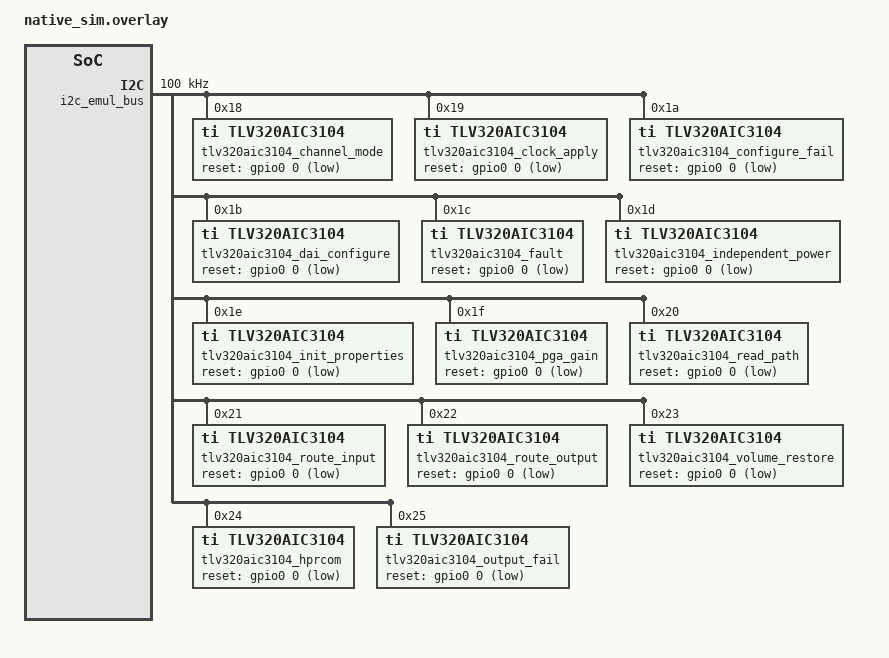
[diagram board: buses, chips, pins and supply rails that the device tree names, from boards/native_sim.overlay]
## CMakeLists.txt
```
# SPDX-FileCopyrightText: Copyright The Zephyr Project Contributors
# SPDX-License-Identifier: Apache-2.0

cmake_minimum_required(VERSION 3.20.0)
find_package(Zephyr REQUIRED HINTS $ENV{ZEPHYR_BASE})
project(tlv320aic3104_test)

target_sources(app PRIVATE
    src/tlv320aic3104_emul.c
    src/test_clock_solver.c
    src/test_clock_apply.c
    src/test_dai_configure.c
    src/test_channel_mode.c
    src/test_route_output.c
    src/test_route_input.c
    src/test_fault.c
    src/test_hprcom.c
    src/test_independent_power.c
    src/test_init_properties.c
    src/test_output_fail.c
    src/test_pga_gain.c
    src/test_read_path.c
    src/test_volume_restore.c
    src/test_configure_fail.c
)

target_include_directories(app PRIVATE src ${ZEPHYR_BASE}/drivers/audio)
```

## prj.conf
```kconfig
# SPDX-FileCopyrightText: Copyright The Zephyr Project Contributors
# SPDX-License-Identifier: Apache-2.0

CONFIG_ZTEST=y

CONFIG_I2C=y
CONFIG_EMUL=y
CONFIG_I2C_EMUL=y
CONFIG_GPIO=y
CONFIG_GPIO_EMUL=y

CONFIG_AUDIO=y
CONFIG_AUDIO_CODEC=y
CONFIG_AUDIO_TLV320AIC3104=y

CONFIG_LOG=y
```

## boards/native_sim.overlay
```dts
/*
 * SPDX-FileCopyrightText: Copyright The Zephyr Project Contributors
 * SPDX-License-Identifier: Apache-2.0
 */

/ {
	i2c_emul_bus: i2c_emul@60000000 {
		compatible = "zephyr,i2c-emul-controller";
		reg = <0x60000000 0x1>;
		clock-frequency = <I2C_BITRATE_STANDARD>;
		#address-cells = <1>;
		#size-cells = <0>;
		status = "okay";

		tlv320aic3104_channel_mode: tlv320aic3104@18 {
			compatible = "ti,tlv320aic3104";
			reg = <0x18>;
			reset-gpios = <&gpio0 0 GPIO_ACTIVE_LOW>;
			status = "okay";
		};

		tlv320aic3104_clock_apply: tlv320aic3104@19 {
			compatible = "ti,tlv320aic3104";
			reg = <0x19>;
			reset-gpios = <&gpio0 0 GPIO_ACTIVE_LOW>;
			status = "okay";
		};

		tlv320aic3104_configure_fail: tlv320aic3104@1a {
			compatible = "ti,tlv320aic3104";
			reg = <0x1a>;
			reset-gpios = <&gpio0 0 GPIO_ACTIVE_LOW>;
			status = "okay";
		};

		tlv320aic3104_dai_configure: tlv320aic3104@1b {
			compatible = "ti,tlv320aic3104";
			reg = <0x1b>;
			reset-gpios = <&gpio0 0 GPIO_ACTIVE_LOW>;
			status = "okay";
		};

		tlv320aic3104_fault: tlv320aic3104@1c {
			compatible = "ti,tlv320aic3104";
			reg = <0x1c>;
			reset-gpios = <&gpio0 0 GPIO_ACTIVE_LOW>;
			status = "okay";
		};

		tlv320aic3104_independent_power: tlv320aic3104@1d {
			compatible = "ti,tlv320aic3104";
			reg = <0x1d>;
			reset-gpios = <&gpio0 0 GPIO_ACTIVE_LOW>;
			status = "okay";
		};

		tlv320aic3104_init_properties: tlv320aic3104@1e {
			compatible = "ti,tlv320aic3104";
			reg = <0x1e>;
			reset-gpios = <&gpio0 0 GPIO_ACTIVE_LOW>;

			mic-bias-level = <2>;
			adc-high-pass-filter = <3>;
			status = "okay";
		};

		tlv320aic3104_pga_gain: tlv320aic3104@1f {
			compatible = "ti,tlv320aic3104";
			reg = <0x1f>;
			reset-gpios = <&gpio0 0 GPIO_ACTIVE_LOW>;
			status = "okay";
		};

		tlv320aic3104_read_path: tlv320aic3104@20 {
			compatible = "ti,tlv320aic3104";
			reg = <0x20>;
			reset-gpios = <&gpio0 0 GPIO_ACTIVE_LOW>;
			status = "okay";
		};

		tlv320aic3104_route_input: tlv320aic3104@21 {
			compatible = "ti,tlv320aic3104";
			reg = <0x21>;
			reset-gpios = <&gpio0 0 GPIO_ACTIVE_LOW>;
			status = "okay";
		};

		tlv320aic3104_route_output: tlv320aic3104@22 {
			compatible = "ti,tlv320aic3104";
			reg = <0x22>;
			reset-gpios = <&gpio0 0 GPIO_ACTIVE_LOW>;
			status = "okay";
		};

		tlv320aic3104_volume_restore: tlv320aic3104@23 {
			compatible = "ti,tlv320aic3104";
			reg = <0x23>;
			reset-gpios = <&gpio0 0 GPIO_ACTIVE_LOW>;
			status = "okay";
		};

		tlv320aic3104_hprcom: tlv320aic3104@24 {
			compatible = "ti,tlv320aic3104";
			reg = <0x24>;
			reset-gpios = <&gpio0 0 GPIO_ACTIVE_LOW>;

			hprcom-vcm-output;
			status = "okay";
		};

		tlv320aic3104_output_fail: tlv320aic3104@25 {
			compatible = "ti,tlv320aic3104";
			reg = <0x25>;
			reset-gpios = <&gpio0 0 GPIO_ACTIVE_LOW>;
			status = "okay";
		};
	};
};
```

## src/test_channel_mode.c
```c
/*
 * SPDX-FileCopyrightText: Copyright The Zephyr Project Contributors
 * SPDX-License-Identifier: Apache-2.0
 */

#include <zephyr/ztest.h>
#include <zephyr/device.h>
#include <zephyr/audio/codec.h>
#include <zephyr/drivers/i2c.h>
#include <zephyr/drivers/i2c_emul.h>

#include "tlv320aic3104_priv.h"

#include "tlv320aic3104_emul.h"

#define CODEC DEVICE_DT_GET(DT_NODELABEL(tlv320aic3104_channel_mode))

ZTEST(tlv320_channel_mode, test_stereo_sets_datapath_0x0a)
{
	zassert_true(device_is_ready(CODEC));
	tlv320aic3104_emul_reset();
	zassert_ok(audio_codec_route_output(CODEC, AUDIO_CHANNEL_ALL, TLV320AIC3104_OUTPUT_HP));
	zassert_equal(tlv320aic3104_emul_last_val(0, 0x07), 0x0A, "stereo datapath");
	zassert_equal(tlv320aic3104_emul_last_val(0, 0x11), 0x0F, "stereo R17");
	zassert_equal(tlv320aic3104_emul_last_val(0, 0x12), 0xF0, "stereo R18");
}

ZTEST(tlv320_channel_mode, test_mono_sets_datapath_0x1e)
{
	tlv320aic3104_emul_reset();
	zassert_ok(audio_codec_route_output(CODEC, AUDIO_CHANNEL_FRONT_CENTER,
					    TLV320AIC3104_OUTPUT_HP));
	zassert_equal(tlv320aic3104_emul_last_val(0, 0x07), 0x1E, "mono datapath");
	zassert_equal(tlv320aic3104_emul_last_val(0, 0x11), 0x44, "mono R17");
	zassert_equal(tlv320aic3104_emul_last_val(0, 0x12), 0x44, "mono R18");
}

ZTEST(tlv320_channel_mode, test_capture_start_powers_adc_and_routes_line2)
{
	tlv320aic3104_emul_reset();

	tlv320aic3104_emul_set_val(0, 0x13, 0x78);
	tlv320aic3104_emul_set_val(0, 0x16, 0x78);
	zassert_ok(audio_codec_route_output(CODEC, AUDIO_CHANNEL_ALL, TLV320AIC3104_OUTPUT_HP));
	zassert_ok(audio_codec_start(CODEC, AUDIO_DAI_DIR_RX));
	zassert_equal(tlv320aic3104_emul_last_val(0, 0x13), 0x7C, "Left-ADC powered (R19)");
	zassert_equal(tlv320aic3104_emul_last_val(0, 0x16), 0x7C, "Right-ADC powered (R22)");
	zassert_equal(tlv320aic3104_emul_last_val(0, 0x0F), 0x00, "Left PGA 0dB unmuted (R15)");
	zassert_equal(tlv320aic3104_emul_last_val(0, 0x10), 0x00, "Right PGA 0dB unmuted (R16)");
	zassert_equal(tlv320aic3104_emul_last_val(0, 0x11), 0x0F, "LINE2L->LADC (R17)");
	zassert_equal(tlv320aic3104_emul_last_val(0, 0x12), 0xF0, "LINE2R->RADC (R18)");

	zassert_equal(tlv320aic3104_emul_last_val(0, 0x19), 0x00, "MICBIAS off by default (R25)");
	zassert_equal(tlv320aic3104_emul_last_val(0, 0x0C), 0x00,
		      "ADC HPF disabled by default (R12)");
}

ZTEST(tlv320_channel_mode, test_channel_mode_preserves_clock_family_bit)
{

	tlv320aic3104_emul_reset();
	tlv320aic3104_emul_set_val(0, 0x07, 0x80);

	zassert_ok(audio_codec_route_output(CODEC, AUDIO_CHANNEL_FRONT_CENTER,
					    TLV320AIC3104_OUTPUT_HP));
	zassert_equal(tlv320aic3104_emul_last_val(0, 0x07), 0x9E, "family bit survives mono write");

	zassert_ok(audio_codec_route_output(CODEC, AUDIO_CHANNEL_ALL, TLV320AIC3104_OUTPUT_HP));
	zassert_equal(tlv320aic3104_emul_last_val(0, 0x07), 0x8A,
		      "family bit survives stereo write");
}

ZTEST(tlv320_channel_mode, test_capture_stop_powers_down_adc)
{
	tlv320aic3104_emul_reset();

	tlv320aic3104_emul_set_val(0, 0x13, 0x78);
	tlv320aic3104_emul_set_val(0, 0x16, 0x78);
	zassert_ok(audio_codec_start(CODEC, AUDIO_DAI_DIR_RX));
	zassert_ok(audio_codec_stop(CODEC, AUDIO_DAI_DIR_RX));
	zassert_equal(tlv320aic3104_emul_last_val(0, 0x13), 0x78, "Left-ADC off (R19)");
	zassert_equal(tlv320aic3104_emul_last_val(0, 0x16), 0x78, "Right-ADC off (R22)");
	zassert_equal(tlv320aic3104_emul_last_val(0, 0x0F), 0x80, "Left PGA muted (R15)");
}

ZTEST_SUITE(tlv320_channel_mode, NULL, NULL, NULL, NULL, NULL);
```

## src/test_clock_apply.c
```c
/*
 * SPDX-FileCopyrightText: Copyright The Zephyr Project Contributors
 * SPDX-License-Identifier: Apache-2.0
 */

#include <errno.h>
#include <zephyr/audio/codec.h>
#include <zephyr/device.h>
#include <zephyr/ztest.h>

#include "tlv320aic3104_emul.h"

#define CODEC DEVICE_DT_GET(DT_NODELABEL(tlv320aic3104_clock_apply))

#define R_NDAC_NADC 0x02U
#define R_PLL_A     0x03U
#define R_PLL_B     0x04U
#define R_PLL_C     0x05U
#define R_PLL_D     0x06U
#define R_DATAPATH  0x07U
#define R_OVERFLOW  0x0BU
#define R_CLOCK     0x65U

static void before_each(void *fixture)
{
	ARG_UNUSED(fixture);
	tlv320aic3104_emul_reset();
}

ZTEST_SUITE(tlv320_clock_apply, NULL, NULL, before_each, NULL, NULL);

ZTEST(tlv320_clock_apply, test_divider_only_register_set)
{
	struct audio_codec_cfg cfg = {
		.mclk_freq = 12288000,
		.dai_type = AUDIO_DAI_TYPE_I2S,
		.dai_cfg.i2s.frame_clk_freq = 48000,
		.dai_cfg.i2s.word_size = 16,
	};

	zassert_ok(audio_codec_configure(CODEC, &cfg));

	zassert_equal(tlv320aic3104_emul_last_val(0, R_NDAC_NADC), 0x00, "R2 NCODEC=1");
	zassert_equal(tlv320aic3104_emul_last_val(0, R_PLL_A), 0x10, "R3 PLL off, Q=2");
	zassert_equal(tlv320aic3104_emul_last_val(0, R_PLL_B), 0x00, "R4 unused, PLL off");
	zassert_equal(tlv320aic3104_emul_last_val(0, R_PLL_C), 0x00, "R5 unused, PLL off");
	zassert_equal(tlv320aic3104_emul_last_val(0, R_PLL_D), 0x00, "R6 unused, PLL off");
	zassert_equal(tlv320aic3104_emul_last_val(0, R_OVERFLOW), 0x00,
		      "R11 PLL R unused, PLL off");
	zassert_equal(tlv320aic3104_emul_last_val(0, R_DATAPATH), 0x0A,
		      "R7 stereo datapath, 48 kHz family bit clear");

	zassert_equal(tlv320aic3104_emul_last_val(0, R_CLOCK), 0x01,
		      "R101 CODEC_CLKIN = CLKDIV_OUT when the PLL is off");
}

ZTEST(tlv320_clock_apply, test_pll_required_register_set)
{
	struct audio_codec_cfg cfg = {
		.mclk_freq = 12000000,
		.dai_type = AUDIO_DAI_TYPE_I2S,
		.dai_cfg.i2s.frame_clk_freq = 44100,
		.dai_cfg.i2s.word_size = 16,
	};

	zassert_ok(audio_codec_configure(CODEC, &cfg));

	zassert_equal(tlv320aic3104_emul_last_val(0, R_NDAC_NADC), 0x00, "R2 NCODEC=1");
	zassert_equal(tlv320aic3104_emul_last_val(0, R_PLL_A), 0x81, "R3 PLL on, P=1");
	zassert_equal(tlv320aic3104_emul_last_val(0, R_PLL_B), 0x1C, "R4 J=7");
	zassert_equal(tlv320aic3104_emul_last_val(0, R_PLL_C), 0x52, "R5 D MSBs");
	zassert_equal(tlv320aic3104_emul_last_val(0, R_PLL_D), 0x40, "R6 D LSBs");
	zassert_equal(tlv320aic3104_emul_last_val(0, R_OVERFLOW), 0x01, "R11 PLL R=1");
	zassert_equal(tlv320aic3104_emul_last_val(0, R_DATAPATH), 0x8A,
		      "R7 stereo datapath, 44.1 kHz family bit set");

	zassert_equal(tlv320aic3104_emul_last_val(0, R_CLOCK), 0x00,
		      "R101 CODEC_CLKIN = PLLDIV_OUT when the PLL is on");
}

ZTEST(tlv320_clock_apply, test_unreachable_rate_writes_no_clock_register)
{
	struct audio_codec_cfg cfg = {
		.mclk_freq = 12000000,
		.dai_type = AUDIO_DAI_TYPE_I2S,
		.dai_cfg.i2s.frame_clk_freq = 44101,
		.dai_cfg.i2s.word_size = 16,
	};

	zassert_equal(audio_codec_configure(CODEC, &cfg), -ENOTSUP);

	zassert_equal(tlv320aic3104_emul_last_val(0, R_NDAC_NADC), 0x00, "R2 untouched");
	zassert_equal(tlv320aic3104_emul_last_val(0, R_PLL_A), 0x00, "R3 untouched");
	zassert_equal(tlv320aic3104_emul_last_val(0, R_PLL_B), 0x00, "R4 untouched");
	zassert_equal(tlv320aic3104_emul_last_val(0, R_PLL_C), 0x00, "R5 untouched");
	zassert_equal(tlv320aic3104_emul_last_val(0, R_PLL_D), 0x00, "R6 untouched");
	zassert_equal(tlv320aic3104_emul_last_val(0, R_OVERFLOW), 0x00, "R11 untouched");
	zassert_equal(tlv320aic3104_emul_last_val(0, R_DATAPATH), 0x00,
		      "R7 untouched - configure() aborted before any write");
	zassert_equal(tlv320aic3104_emul_last_val(0, R_CLOCK), 0x00, "R101 untouched");
}
```

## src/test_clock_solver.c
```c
/*
 * SPDX-FileCopyrightText: Copyright The Zephyr Project Contributors
 * SPDX-License-Identifier: Apache-2.0
 */

#include <errno.h>
#include <stdint.h>

#include <zephyr/ztest.h>

#include "tlv320aic3104_priv.h"

static bool decoded_rate_matches(const struct tlv320aic3104_clock_solution *sol, uint32_t mclk_hz,
				 uint32_t expected_rate_hz)
{
	uint8_t ncodec_code = sol->r2_ndac_nadc & 0x0F;

	zassert_equal(ncodec_code, (sol->r2_ndac_nadc >> 4) & 0x0F, "NDAC != NADC");

	int64_t fsref_x2;

	if (sol->pll_enabled) {
		uint8_t p_code = sol->r3_pll_enable_q_p & 0x07;
		uint8_t r_code = sol->r11_pll_r & 0x0F;
		uint32_t p = (p_code == 0) ? 8 : p_code;
		uint32_t r = (r_code == 0) ? 16 : r_code;
		uint32_t j = (sol->r4_pll_j >> 2) & 0x3F;
		uint32_t d =
			(((uint32_t)sol->r5_pll_d_msb) << 6) | ((sol->r6_pll_d_lsb >> 2) & 0x3F);
		int64_t k10000 = (int64_t)j * 10000 + d;

		int64_t num = (int64_t)mclk_hz * k10000 * r;
		int64_t den = 1024LL * p * 10000LL;

		zassert_equal(num % den, 0, "PLL solution does not reproduce an exact fS(ref)");
		fsref_x2 = num / den;
	} else {
		uint8_t q_code = (sol->r3_pll_enable_q_p >> 3) & 0x0F;
		uint32_t q = (q_code == 0) ? 16 : (q_code == 1) ? 17 : q_code;

		zassert_equal(sol->r3_pll_enable_q_p & 0x80, 0,
			      "divider solution left PLL enabled");

		zassert_equal(mclk_hz % (64u * q), 0, "divider solution does not divide exactly");
		fsref_x2 = mclk_hz / (64u * q);
	}

	int64_t ncodec_x2 = ncodec_code + 2;

	return (fsref_x2 % ncodec_x2 == 0) && (fsref_x2 / ncodec_x2 == expected_rate_hz);
}

ZTEST(tlv320aic3104_clock_solver, test_divider_exact_multiple_disables_pll)
{
	struct tlv320aic3104_clock_solution sol;

	zassert_equal(0, tlv320aic3104_clock_solve(12288000, 48000, &sol));
	zassert_false(sol.pll_enabled, "exact division must not engage the PLL");
	zassert_equal(sol.r3_pll_enable_q_p & 0x80, 0, "R3 D7 must be 0 when PLL is off");
	zassert_true(decoded_rate_matches(&sol, 12288000, 48000));
}

ZTEST(tlv320aic3104_clock_solver, test_pll_required_for_standard_rate)
{
	struct tlv320aic3104_clock_solution sol;

	zassert_equal(0, tlv320aic3104_clock_solve(12000000, 44100, &sol));
	zassert_true(sol.pll_enabled, "12 MHz to 44.1 kHz needs the PLL");
	zassert_equal(sol.r3_pll_enable_q_p & 0x80, 0x80, "R3 D7 must be 1 when PLL is on");
	zassert_true(decoded_rate_matches(&sol, 12000000, 44100));
}

ZTEST(tlv320aic3104_clock_solver, test_mclk_below_pll_input_minimum_rejected)
{
	struct tlv320aic3104_clock_solution sol;

	zassert_equal(-ENOTSUP, tlv320aic3104_clock_solve(400000, 8000, &sol));
}

ZTEST(tlv320aic3104_clock_solver, test_mclk_above_input_maximum_rejected)
{
	struct tlv320aic3104_clock_solution sol;

	zassert_equal(-ENOTSUP, tlv320aic3104_clock_solve(60000000, 48000, &sol));
}

ZTEST(tlv320aic3104_clock_solver, test_unreachable_rate_rejected)
{
	struct tlv320aic3104_clock_solution sol;

	zassert_equal(-ENOTSUP, tlv320aic3104_clock_solve(12000000, 44101, &sol));
}

ZTEST(tlv320aic3104_clock_solver, test_every_standard_rate_at_common_mclk)
{

	static const uint32_t rates[] = {8000,  11025, 12000, 16000, 22050,
					 24000, 32000, 44100, 48000};

	for (size_t i = 0; i < ARRAY_SIZE(rates); i++) {
		struct tlv320aic3104_clock_solution sol;
		int ret = tlv320aic3104_clock_solve(12000000, rates[i], &sol);

		zassert_equal(0, ret, "rate %u should be reachable at 12 MHz", rates[i]);
		zassert_true(decoded_rate_matches(&sol, 12000000, rates[i]),
			     "rate %u decoded incorrectly", rates[i]);
	}
}

ZTEST(tlv320aic3104_clock_solver, test_zero_rate_rejected_before_arithmetic)
{
	struct tlv320aic3104_clock_solution sol;

	zassert_equal(-EINVAL, tlv320aic3104_clock_solve(12000000, 0, &sol));
}

ZTEST(tlv320aic3104_clock_solver, test_zero_mclk_rejected_before_arithmetic)
{
	struct tlv320aic3104_clock_solution sol;

	zassert_equal(-EINVAL, tlv320aic3104_clock_solve(0, 48000, &sol));
}

ZTEST(tlv320aic3104_clock_solver, test_fractional_ncodec_divider_honours_fsref_floor)
{
	struct tlv320aic3104_clock_solution sol;
	uint8_t ncodec_code;
	int64_t ncodec_x2;
	uint8_t q_code;
	uint32_t q;
	int64_t fsref_x2;

	zassert_equal(0, tlv320aic3104_clock_solve(36864000, 16000, &sol));
	zassert_true(decoded_rate_matches(&sol, 36864000, 16000));

	if (sol.pll_enabled) {
		return;
	}

	ncodec_code = sol.r2_ndac_nadc & 0x0F;
	ncodec_x2 = ncodec_code + 2;

	if ((ncodec_x2 % 2) == 0) {
		return;
	}

	q_code = (sol.r3_pll_enable_q_p >> 3) & 0x0F;
	q = (q_code == 0) ? 16 : (q_code == 1) ? 17 : q_code;
	fsref_x2 = 36864000 / (64u * q);

	zassert_true(fsref_x2 >= 39000 * 2,
		     "half-integer NCODEC divider solution at fS(ref) %lld Hz, below the "
		     "39 kHz floor that mode requires",
		     (long long)(fsref_x2 / 2));
}

ZTEST_SUITE(tlv320aic3104_clock_solver, NULL, NULL, NULL, NULL, NULL);
```

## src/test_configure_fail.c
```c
/*
 * SPDX-FileCopyrightText: Copyright The Zephyr Project Contributors
 * SPDX-License-Identifier: Apache-2.0
 */

#include <zephyr/ztest.h>
#include <zephyr/device.h>
#include <zephyr/audio/codec.h>
#include <errno.h>

#include "tlv320aic3104_emul.h"

#define CODEC DEVICE_DT_GET(DT_NODELABEL(tlv320aic3104_configure_fail))

#define REG_SOFT_RESET     0x01U
#define REG_CODEC_DATAPATH 0x07U
#define REG_DAC_POWER      0x25U
#define REG_HPLOUT_LEVEL   0x33U
#define VAL_HPLOUT_LEVEL   0x09U

static struct audio_codec_cfg s_cfg = {
	.mclk_freq = 12288000,
	.dai_type = AUDIO_DAI_TYPE_I2S,
	.dai_cfg.i2s.frame_clk_freq = 48000,
	.dai_cfg.i2s.word_size = 16,
};

static void *suite_setup(void)
{
	zassert_true(device_is_ready(CODEC), "codec device not ready");
	return NULL;
}

static void before_each(void *fixture)
{
	ARG_UNUSED(fixture);
	tlv320aic3104_emul_reset();
}

ZTEST_SUITE(tlv320_configure_fail, NULL, suite_setup, before_each, NULL, NULL);

ZTEST(tlv320_configure_fail, test_configure_ok_baseline)
{
	zassert_ok(audio_codec_configure(CODEC, &s_cfg), "configure must succeed without faults");
	zassert_equal(tlv320aic3104_emul_last_val(0, REG_HPLOUT_LEVEL), VAL_HPLOUT_LEVEL,
		      "init sequence did not reach HPLOUT_LEVEL");
}

ZTEST(tlv320_configure_fail, test_soft_reset_write_failure_propagates)
{
	tlv320aic3104_emul_fail_write_at(0, REG_SOFT_RESET);

	zassert_equal(audio_codec_configure(CODEC, &s_cfg), -EIO,
		      "soft-reset write failure must propagate");
	zassert_equal(tlv320aic3104_emul_last_val(0, REG_CODEC_DATAPATH), 0x00,
		      "writes after the failed reset must not run");
}

ZTEST(tlv320_configure_fail, test_channel_mode_write_failure_propagates)
{
	tlv320aic3104_emul_fail_write_at(0, REG_CODEC_DATAPATH);

	zassert_equal(audio_codec_configure(CODEC, &s_cfg), -EIO,
		      "channel-mode write failure must propagate");

	zassert_equal(tlv320aic3104_emul_last_val(0, REG_HPLOUT_LEVEL), 0x00,
		      "writes after the failed register must not run");
}

ZTEST(tlv320_configure_fail, test_init_sequence_write_failure_propagates)
{
	tlv320aic3104_emul_fail_write_at(0, REG_DAC_POWER);

	zassert_equal(audio_codec_configure(CODEC, &s_cfg), -EIO,
		      "init-sequence write failure must propagate");
	zassert_equal(tlv320aic3104_emul_last_val(0, REG_HPLOUT_LEVEL), 0x00,
		      "writes after the failed register must not run");
}

ZTEST(tlv320_configure_fail, test_configure_recovers_after_fault_cleared)
{
	tlv320aic3104_emul_fail_write_at(0, REG_DAC_POWER);
	zassert_equal(audio_codec_configure(CODEC, &s_cfg), -EIO, "armed fault must fail");

	tlv320aic3104_emul_reset();
	zassert_ok(audio_codec_configure(CODEC, &s_cfg), "configure must succeed after recovery");
	zassert_equal(tlv320aic3104_emul_last_val(0, REG_HPLOUT_LEVEL), VAL_HPLOUT_LEVEL,
		      "recovered sequence did not reach HPLOUT_LEVEL");
}
```

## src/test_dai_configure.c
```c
/*
 * SPDX-FileCopyrightText: Copyright The Zephyr Project Contributors
 * SPDX-License-Identifier: Apache-2.0
 */

#include <errno.h>
#include <zephyr/audio/codec.h>
#include <zephyr/device.h>
#include <zephyr/drivers/i2s.h>
#include <zephyr/ztest.h>

#include "tlv320aic3104_emul.h"

#define CODEC DEVICE_DT_GET(DT_NODELABEL(tlv320aic3104_dai_configure))

#define R_ASI_CTRL_A 0x08U
#define R_ASI_CTRL_B 0x09U

#define ASI_CTRL_A_HIZ_DOUT    0x20U
#define ASI_CTRL_A_BCLK_OUTPUT 0x80U
#define ASI_CTRL_A_WCLK_OUTPUT 0x40U

static struct audio_codec_cfg base_cfg(void)
{
	struct audio_codec_cfg cfg = {
		.mclk_freq = 12288000,
		.dai_type = AUDIO_DAI_TYPE_I2S,
		.dai_cfg.i2s.frame_clk_freq = 48000,
		.dai_cfg.i2s.word_size = 16,
	};

	return cfg;
}

static void before_each(void *fixture)
{
	ARG_UNUSED(fixture);
	tlv320aic3104_emul_reset();
}

ZTEST_SUITE(tlv320_dai_configure, NULL, NULL, before_each, NULL, NULL);

ZTEST(tlv320_dai_configure, test_mode_i2s)
{
	struct audio_codec_cfg cfg = base_cfg();

	cfg.dai_type = AUDIO_DAI_TYPE_I2S;
	zassert_ok(audio_codec_configure(CODEC, &cfg));
	zassert_equal(tlv320aic3104_emul_last_val(0, R_ASI_CTRL_B), 0x00, "I2S, 16-bit -> 00_00");
}

ZTEST(tlv320_dai_configure, test_mode_left_justified)
{
	struct audio_codec_cfg cfg = base_cfg();

	cfg.dai_type = AUDIO_DAI_TYPE_LEFT_JUSTIFIED;
	zassert_ok(audio_codec_configure(CODEC, &cfg));
	zassert_equal(tlv320aic3104_emul_last_val(0, R_ASI_CTRL_B), 0xC0,
		      "left justified -> 11_00");
}

ZTEST(tlv320_dai_configure, test_mode_right_justified)
{
	struct audio_codec_cfg cfg = base_cfg();

	cfg.dai_type = AUDIO_DAI_TYPE_RIGHT_JUSTIFIED;
	zassert_ok(audio_codec_configure(CODEC, &cfg));
	zassert_equal(tlv320aic3104_emul_last_val(0, R_ASI_CTRL_B), 0x80,
		      "right justified -> 10_00");
}

ZTEST(tlv320_dai_configure, test_pcm_rejected)
{
	struct audio_codec_cfg cfg = base_cfg();

	cfg.dai_type = AUDIO_DAI_TYPE_PCM;
	zassert_equal(audio_codec_configure(CODEC, &cfg), -ENOTSUP);
	zassert_equal(tlv320aic3104_emul_last_val(0, R_ASI_CTRL_A), 0x00, "R8 untouched");
	zassert_equal(tlv320aic3104_emul_last_val(0, R_ASI_CTRL_B), 0x00, "R9 untouched");
}

ZTEST(tlv320_dai_configure, test_unsupported_mode_rejected)
{
	struct audio_codec_cfg cfg = base_cfg();

	cfg.dai_type = AUDIO_DAI_TYPE_PCMA;
	zassert_equal(audio_codec_configure(CODEC, &cfg), -ENOTSUP);
	zassert_equal(tlv320aic3104_emul_last_val(0, R_ASI_CTRL_A), 0x00, "R8 untouched");
	zassert_equal(tlv320aic3104_emul_last_val(0, R_ASI_CTRL_B), 0x00, "R9 untouched");
}

ZTEST(tlv320_dai_configure, test_word_length_16)
{
	struct audio_codec_cfg cfg = base_cfg();

	cfg.dai_cfg.i2s.word_size = 16;
	zassert_ok(audio_codec_configure(CODEC, &cfg));
	zassert_equal(tlv320aic3104_emul_last_val(0, R_ASI_CTRL_B), 0x00, "16-bit -> 00_00_00");
}

ZTEST(tlv320_dai_configure, test_word_length_20)
{
	struct audio_codec_cfg cfg = base_cfg();

	cfg.dai_cfg.i2s.word_size = 20;
	zassert_ok(audio_codec_configure(CODEC, &cfg));
	zassert_equal(tlv320aic3104_emul_last_val(0, R_ASI_CTRL_B), 0x10, "20-bit -> 00_01_00");
}

ZTEST(tlv320_dai_configure, test_word_length_24)
{
	struct audio_codec_cfg cfg = base_cfg();

	cfg.dai_cfg.i2s.word_size = 24;
	zassert_ok(audio_codec_configure(CODEC, &cfg));
	zassert_equal(tlv320aic3104_emul_last_val(0, R_ASI_CTRL_B), 0x20, "24-bit -> 00_10_00");
}

ZTEST(tlv320_dai_configure, test_word_length_32)
{
	struct audio_codec_cfg cfg = base_cfg();

	cfg.dai_cfg.i2s.word_size = 32;
	zassert_ok(audio_codec_configure(CODEC, &cfg));
	zassert_equal(tlv320aic3104_emul_last_val(0, R_ASI_CTRL_B), 0x30, "32-bit -> 00_11_00");
}

ZTEST(tlv320_dai_configure, test_unsupported_word_length_rejected)
{
	struct audio_codec_cfg cfg = base_cfg();

	cfg.dai_cfg.i2s.word_size = 18;
	zassert_equal(audio_codec_configure(CODEC, &cfg), -ENOTSUP);
	zassert_equal(tlv320aic3104_emul_last_val(0, R_ASI_CTRL_A), 0x00, "R8 untouched");
	zassert_equal(tlv320aic3104_emul_last_val(0, R_ASI_CTRL_B), 0x00, "R9 untouched");
}

ZTEST(tlv320_dai_configure, test_clock_direction_codec_target)
{
	struct audio_codec_cfg cfg = base_cfg();

	cfg.dai_cfg.i2s.options = I2S_OPT_BIT_CLK_TARGET | I2S_OPT_FRAME_CLK_TARGET;
	zassert_ok(audio_codec_configure(CODEC, &cfg));
	zassert_equal(tlv320aic3104_emul_last_val(0, R_ASI_CTRL_A), ASI_CTRL_A_HIZ_DOUT,
		      "target options: codec takes BCLK+WCLK, D7=0, D6=0");
}

ZTEST(tlv320_dai_configure, test_clock_direction_codec_controller)
{
	struct audio_codec_cfg cfg = base_cfg();

	cfg.dai_cfg.i2s.options = I2S_OPT_BIT_CLK_CONTROLLER | I2S_OPT_FRAME_CLK_CONTROLLER;
	zassert_ok(audio_codec_configure(CODEC, &cfg));
	zassert_equal(tlv320aic3104_emul_last_val(0, R_ASI_CTRL_A),
		      ASI_CTRL_A_HIZ_DOUT | ASI_CTRL_A_BCLK_OUTPUT | ASI_CTRL_A_WCLK_OUTPUT,
		      "controller options: codec drives BCLK+WCLK, D7=1, D6=1");
}

ZTEST(tlv320_dai_configure, test_clock_direction_codec_drives_bclk_only)
{
	struct audio_codec_cfg cfg = base_cfg();

	cfg.dai_cfg.i2s.options = I2S_OPT_BIT_CLK_CONTROLLER | I2S_OPT_FRAME_CLK_TARGET;
	zassert_ok(audio_codec_configure(CODEC, &cfg));
	zassert_equal(tlv320aic3104_emul_last_val(0, R_ASI_CTRL_A),
		      ASI_CTRL_A_HIZ_DOUT | ASI_CTRL_A_BCLK_OUTPUT,
		      "codec drives BCLK, takes WCLK: D7=1, D6=0");
}
```

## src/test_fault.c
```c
/*
 * SPDX-FileCopyrightText: Copyright The Zephyr Project Contributors
 * SPDX-License-Identifier: Apache-2.0
 */

#include <errno.h>
#include <zephyr/audio/codec.h>
#include <zephyr/device.h>
#include <zephyr/ztest.h>

#include "tlv320aic3104_priv.h"

#include "tlv320aic3104_emul.h"

#define CODEC DEVICE_DT_GET(DT_NODELABEL(tlv320aic3104_fault))

#define R_HP_OUTPUT_DRIVER_CTRL  0x26U
#define R_HPRCOM_LEVEL           0x48U
#define R_STICKY_INTERRUPT_FLAGS 0x60U

#define HP_OUTPUT_DRIVER_CTRL_EXPECT 0x06U

#define STICKY_INTERRUPT_FLAGS_HPLOUT_SHORT 0x80U

static uint32_t s_cb_errors;
static int s_cb_calls;

static void fault_cb(const struct device *dev, uint32_t errors)
{
	zassert_equal(dev, CODEC, "callback must receive the codec device");
	s_cb_errors = errors;
	s_cb_calls++;
}

static void configure_codec(void)
{
	struct audio_codec_cfg cfg = {
		.mclk_freq = 12288000,
		.dai_type = AUDIO_DAI_TYPE_I2S,
		.dai_cfg.i2s.frame_clk_freq = 48000,
		.dai_cfg.i2s.word_size = 16,
	};
	zassert_ok(audio_codec_configure(CODEC, &cfg));
}

static void before_each(void *fixture)
{
	ARG_UNUSED(fixture);

	tlv320aic3104_emul_reset();
	s_cb_errors = 0;
	s_cb_calls = 0;

	configure_codec();
}

ZTEST_SUITE(tlv320_fault, NULL, NULL, before_each, NULL, NULL);

ZTEST(tlv320_fault, test_init_enables_short_circuit_protection)
{
	zassert_equal(tlv320aic3104_emul_last_val(0, R_HP_OUTPUT_DRIVER_CTRL),
		      HP_OUTPUT_DRIVER_CTRL_EXPECT, "R38 D2|D1 must be set by configure()");
}

ZTEST(tlv320_fault, test_hprcom_untouched_without_the_board_property)
{
	const uint8_t sentinel = 0xA5;

	tlv320aic3104_emul_set_val(0, R_HPRCOM_LEVEL, sentinel);

	configure_codec();

	zassert_equal(tlv320aic3104_emul_last_val(0, R_HPRCOM_LEVEL), sentinel,
		      "R72 must not be written without hprcom-vcm-output");
	zassert_equal(tlv320aic3104_emul_last_val(0, R_HP_OUTPUT_DRIVER_CTRL) & 0x38, 0,
		      "R38 D5-D3 must stay at its reset mode");
}

ZTEST(tlv320_fault, test_register_callback_present_in_api)
{
	zassert_ok(audio_codec_register_error_callback(CODEC, fault_cb));
}

ZTEST(tlv320_fault, test_clear_errors_present_in_api)
{
	zassert_ok(audio_codec_clear_errors(CODEC));
}

ZTEST(tlv320_fault, test_short_circuit_via_start_output_reports_overcurrent)
{
	zassert_ok(audio_codec_register_error_callback(CODEC, fault_cb));

	tlv320aic3104_emul_set_val(0, R_STICKY_INTERRUPT_FLAGS,
				   STICKY_INTERRUPT_FLAGS_HPLOUT_SHORT);
	audio_codec_start_output(CODEC);

	zassert_equal(s_cb_calls, 1, "callback must fire exactly once for the raised fault");
	zassert_equal(s_cb_errors, AUDIO_CODEC_ERROR_OVERCURRENT,
		      "callback must report AUDIO_CODEC_ERROR_OVERCURRENT");
}

ZTEST(tlv320_fault, test_short_circuit_via_set_property_reports_overcurrent)
{
	audio_property_value_t val = {.vol = 0};

	zassert_ok(audio_codec_register_error_callback(CODEC, fault_cb));

	tlv320aic3104_emul_set_val(0, R_STICKY_INTERRUPT_FLAGS,
				   STICKY_INTERRUPT_FLAGS_HPLOUT_SHORT);
	zassert_ok(audio_codec_set_property(CODEC, AUDIO_PROPERTY_OUTPUT_VOLUME, AUDIO_CHANNEL_ALL,
					    val));

	zassert_equal(s_cb_calls, 1, "callback must fire exactly once for the raised fault");
	zassert_equal(s_cb_errors, AUDIO_CODEC_ERROR_OVERCURRENT,
		      "callback must report AUDIO_CODEC_ERROR_OVERCURRENT");
}

ZTEST(tlv320_fault, test_no_short_circuit_no_callback)
{
	uint32_t errors;

	zassert_ok(audio_codec_register_error_callback(CODEC, fault_cb));

	audio_codec_start_output(CODEC);

	zassert_equal(s_cb_calls, 0, "no fault raised, callback must not fire");
	zassert_ok(tlv320aic3104_fault_get_errors(CODEC, &errors));
	zassert_equal(errors, 0, "no fault raised, sticky state must stay clear");
}

ZTEST(tlv320_fault, test_sticky_flag_survives_status_read)
{
	uint32_t errors;

	tlv320aic3104_emul_set_val(0, R_STICKY_INTERRUPT_FLAGS,
				   STICKY_INTERRUPT_FLAGS_HPLOUT_SHORT);
	audio_codec_start_output(CODEC);

	zassert_ok(tlv320aic3104_fault_get_errors(CODEC, &errors));
	zassert_equal(errors, AUDIO_CODEC_ERROR_OVERCURRENT, "flag must be set after the fault");

	zassert_ok(tlv320aic3104_fault_get_errors(CODEC, &errors));
	zassert_equal(errors, AUDIO_CODEC_ERROR_OVERCURRENT,
		      "flag must still be set after a status read");

	tlv320aic3104_emul_set_val(0, R_STICKY_INTERRUPT_FLAGS, 0x00);
	audio_codec_start_output(CODEC);
	zassert_ok(tlv320aic3104_fault_get_errors(CODEC, &errors));
	zassert_equal(errors, AUDIO_CODEC_ERROR_OVERCURRENT,
		      "flag must still be set once the register clears on its own");
}

ZTEST(tlv320_fault, test_clear_errors_clears_the_sticky_flag)
{
	uint32_t errors;

	tlv320aic3104_emul_set_val(0, R_STICKY_INTERRUPT_FLAGS,
				   STICKY_INTERRUPT_FLAGS_HPLOUT_SHORT);
	audio_codec_start_output(CODEC);
	zassert_ok(tlv320aic3104_fault_get_errors(CODEC, &errors));
	zassert_equal(errors, AUDIO_CODEC_ERROR_OVERCURRENT, "flag must be set before clearing");

	zassert_ok(audio_codec_clear_errors(CODEC));

	zassert_ok(tlv320aic3104_fault_get_errors(CODEC, &errors));
	zassert_equal(errors, 0, "clear_errors() must be what clears the sticky flag");
}

ZTEST(tlv320_fault, test_get_errors_null_arg)
{
	zassert_equal(tlv320aic3104_fault_get_errors(CODEC, NULL), -EINVAL,
		      "NULL out_errors must return -EINVAL");
}
```

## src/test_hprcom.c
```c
/*
 * SPDX-FileCopyrightText: Copyright The Zephyr Project Contributors
 * SPDX-License-Identifier: Apache-2.0
 */

#include <zephyr/audio/codec.h>
#include <zephyr/device.h>
#include <zephyr/ztest.h>

#include "tlv320aic3104_emul.h"

#define CODEC DEVICE_DT_GET(DT_NODELABEL(tlv320aic3104_hprcom))

#define R_HP_OUTPUT_DRIVER_CTRL 0x26U
#define R_HPRCOM_LEVEL          0x48U

#define HP_OUTPUT_DRIVER_CTRL_EXPECT 0x0EU

#define HPRCOM_LEVEL_EXPECT 0x09U

static void configure_codec(void)
{
	struct audio_codec_cfg cfg = {
		.mclk_freq = 12288000,
		.dai_type = AUDIO_DAI_TYPE_I2S,
		.dai_cfg.i2s.frame_clk_freq = 48000,
		.dai_cfg.i2s.word_size = 16,
	};
	zassert_ok(audio_codec_configure(CODEC, &cfg));
}

static void before_each(void *fixture)
{
	ARG_UNUSED(fixture);

	tlv320aic3104_emul_reset();
	configure_codec();
}

ZTEST_SUITE(tlv320_hprcom, NULL, NULL, before_each, NULL, NULL);

ZTEST(tlv320_hprcom, test_configure_drives_hprcom_as_vcm)
{
	zassert_equal(tlv320aic3104_emul_last_val(0, R_HP_OUTPUT_DRIVER_CTRL),
		      HP_OUTPUT_DRIVER_CTRL_EXPECT,
		      "R38 must carry the VCM mode and keep the protection bits");
	zassert_equal(tlv320aic3104_emul_last_val(0, R_HPRCOM_LEVEL), HPRCOM_LEVEL_EXPECT,
		      "R72 must be powered and unmuted at 0 dB");
}

ZTEST(tlv320_hprcom, test_output_mute_leaves_hprcom_driven)
{
	audio_property_value_t on = {.mute = true};

	audio_codec_start_output(CODEC);
	zassert_ok(
		audio_codec_set_property(CODEC, AUDIO_PROPERTY_OUTPUT_MUTE, AUDIO_CHANNEL_ALL, on));

	zassert_equal(tlv320aic3104_emul_last_val(0, R_HPRCOM_LEVEL), HPRCOM_LEVEL_EXPECT,
		      "R72 must not follow the output mute");
}

ZTEST(tlv320_hprcom, test_reconfigure_is_idempotent)
{
	configure_codec();

	zassert_equal(tlv320aic3104_emul_last_val(0, R_HP_OUTPUT_DRIVER_CTRL),
		      HP_OUTPUT_DRIVER_CTRL_EXPECT, "R38 unchanged across a reconfigure");
	zassert_equal(tlv320aic3104_emul_last_val(0, R_HPRCOM_LEVEL), HPRCOM_LEVEL_EXPECT,
		      "R72 unchanged across a reconfigure");
}
```

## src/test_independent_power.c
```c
/*
 * SPDX-FileCopyrightText: Copyright The Zephyr Project Contributors
 * SPDX-License-Identifier: Apache-2.0
 */

#include <zephyr/ztest.h>
#include <zephyr/device.h>
#include <zephyr/audio/codec.h>
#include <zephyr/drivers/i2c.h>
#include <zephyr/drivers/i2c_emul.h>

#include "tlv320aic3104_emul.h"

#define CODEC DEVICE_DT_GET(DT_NODELABEL(tlv320aic3104_independent_power))

#define LEFT_ADC_PGA_GAIN   0x0FU
#define RIGHT_ADC_PGA_GAIN  0x10U
#define LINE1L_TO_LADC_CTRL 0x13U
#define LINE1R_TO_RADC_CTRL 0x16U

#define LEFT_DAC_VOL         0x2BU
#define RIGHT_DAC_VOL        0x2CU
#define DAC_L1_TO_HPLOUT_VOL 0x2FU
#define DAC_R1_TO_HPROUT_VOL 0x40U

#define SENTINEL 0x55U

static void prime_rx_regs(void)
{
	tlv320aic3104_emul_set_val(0, LEFT_ADC_PGA_GAIN, SENTINEL);
	tlv320aic3104_emul_set_val(0, RIGHT_ADC_PGA_GAIN, SENTINEL);
	tlv320aic3104_emul_set_val(0, LINE1L_TO_LADC_CTRL, SENTINEL);
	tlv320aic3104_emul_set_val(0, LINE1R_TO_RADC_CTRL, SENTINEL);
}

static void prime_rx_line1_reset(void)
{
	tlv320aic3104_emul_set_val(0, LINE1L_TO_LADC_CTRL, 0x78);
	tlv320aic3104_emul_set_val(0, LINE1R_TO_RADC_CTRL, 0x78);
}

static void prime_tx_regs(void)
{
	tlv320aic3104_emul_set_val(0, LEFT_DAC_VOL, SENTINEL);
	tlv320aic3104_emul_set_val(0, RIGHT_DAC_VOL, SENTINEL);
	tlv320aic3104_emul_set_val(0, DAC_L1_TO_HPLOUT_VOL, SENTINEL);
	tlv320aic3104_emul_set_val(0, DAC_R1_TO_HPROUT_VOL, SENTINEL);
}

ZTEST(tlv320_independent_power, test_start_rx_only_leaves_tx_alone)
{
	tlv320aic3104_emul_reset();
	prime_tx_regs();

	prime_rx_line1_reset();

	zassert_ok(audio_codec_start(CODEC, AUDIO_DAI_DIR_RX));

	zassert_equal(tlv320aic3104_emul_last_val(0, LINE1L_TO_LADC_CTRL), 0x7C,
		      "left ADC powered");
	zassert_equal(tlv320aic3104_emul_last_val(0, LINE1R_TO_RADC_CTRL), 0x7C,
		      "right ADC powered");
	zassert_equal(tlv320aic3104_emul_last_val(0, LEFT_ADC_PGA_GAIN), 0x00,
		      "left PGA unmuted 0dB");
	zassert_equal(tlv320aic3104_emul_last_val(0, RIGHT_ADC_PGA_GAIN), 0x00,
		      "right PGA unmuted 0dB");

	zassert_equal(tlv320aic3104_emul_last_val(0, LEFT_DAC_VOL), SENTINEL, "TX untouched");
	zassert_equal(tlv320aic3104_emul_last_val(0, RIGHT_DAC_VOL), SENTINEL, "TX untouched");
	zassert_equal(tlv320aic3104_emul_last_val(0, DAC_L1_TO_HPLOUT_VOL), SENTINEL,
		      "TX untouched");
	zassert_equal(tlv320aic3104_emul_last_val(0, DAC_R1_TO_HPROUT_VOL), SENTINEL,
		      "TX untouched");
}

ZTEST(tlv320_independent_power, test_start_tx_only_leaves_rx_alone)
{
	tlv320aic3104_emul_reset();
	prime_rx_regs();

	zassert_ok(audio_codec_start(CODEC, AUDIO_DAI_DIR_TX));

	zassert_equal(tlv320aic3104_emul_last_val(0, LEFT_DAC_VOL), 0x00, "left DAC unmuted");
	zassert_equal(tlv320aic3104_emul_last_val(0, RIGHT_DAC_VOL), 0x00, "right DAC unmuted");
	zassert_equal(tlv320aic3104_emul_last_val(0, DAC_L1_TO_HPLOUT_VOL), 0x00,
		      "left HP restored");
	zassert_equal(tlv320aic3104_emul_last_val(0, DAC_R1_TO_HPROUT_VOL), 0x00,
		      "right HP restored");

	zassert_equal(tlv320aic3104_emul_last_val(0, LEFT_ADC_PGA_GAIN), SENTINEL, "RX untouched");
	zassert_equal(tlv320aic3104_emul_last_val(0, RIGHT_ADC_PGA_GAIN), SENTINEL, "RX untouched");
	zassert_equal(tlv320aic3104_emul_last_val(0, LINE1L_TO_LADC_CTRL), SENTINEL,
		      "RX untouched");
	zassert_equal(tlv320aic3104_emul_last_val(0, LINE1R_TO_RADC_CTRL), SENTINEL,
		      "RX untouched");
}

ZTEST(tlv320_independent_power, test_start_txrx_powers_both)
{
	tlv320aic3104_emul_reset();

	prime_rx_line1_reset();

	zassert_ok(audio_codec_start(CODEC, AUDIO_DAI_DIR_TXRX));

	zassert_equal(tlv320aic3104_emul_last_val(0, LINE1L_TO_LADC_CTRL), 0x7C, "ADC powered");
	zassert_equal(tlv320aic3104_emul_last_val(0, LEFT_DAC_VOL), 0x00, "DAC unmuted");
}

ZTEST(tlv320_independent_power, test_stop_rx_only_leaves_tx_alone)
{
	tlv320aic3104_emul_reset();
	prime_tx_regs();

	prime_rx_line1_reset();

	zassert_ok(audio_codec_stop(CODEC, AUDIO_DAI_DIR_RX));

	zassert_equal(tlv320aic3104_emul_last_val(0, LEFT_ADC_PGA_GAIN), 0x80, "left PGA muted");
	zassert_equal(tlv320aic3104_emul_last_val(0, RIGHT_ADC_PGA_GAIN), 0x80, "right PGA muted");
	zassert_equal(tlv320aic3104_emul_last_val(0, LINE1L_TO_LADC_CTRL), 0x78,
		      "left ADC powered down");
	zassert_equal(tlv320aic3104_emul_last_val(0, LINE1R_TO_RADC_CTRL), 0x78,
		      "right ADC powered down");

	zassert_equal(tlv320aic3104_emul_last_val(0, LEFT_DAC_VOL), SENTINEL, "TX untouched");
	zassert_equal(tlv320aic3104_emul_last_val(0, DAC_L1_TO_HPLOUT_VOL), SENTINEL,
		      "TX untouched");
}

ZTEST(tlv320_independent_power, test_stop_tx_only_leaves_rx_alone)
{
	tlv320aic3104_emul_reset();
	prime_rx_regs();

	zassert_ok(audio_codec_stop(CODEC, AUDIO_DAI_DIR_TX));

	zassert_equal(tlv320aic3104_emul_last_val(0, LEFT_DAC_VOL), 0x80, "left DAC muted");
	zassert_equal(tlv320aic3104_emul_last_val(0, RIGHT_DAC_VOL), 0x80, "right DAC muted");
	zassert_equal(tlv320aic3104_emul_last_val(0, DAC_L1_TO_HPLOUT_VOL), 0xF6,
		      "left HP muted band");
	zassert_equal(tlv320aic3104_emul_last_val(0, DAC_R1_TO_HPROUT_VOL), 0xF6,
		      "right HP muted band");

	zassert_equal(tlv320aic3104_emul_last_val(0, LEFT_ADC_PGA_GAIN), SENTINEL, "RX untouched");
	zassert_equal(tlv320aic3104_emul_last_val(0, LINE1L_TO_LADC_CTRL), SENTINEL,
		      "RX untouched");
}

ZTEST_SUITE(tlv320_independent_power, NULL, NULL, NULL, NULL, NULL);
```

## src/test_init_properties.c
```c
/*
 * SPDX-FileCopyrightText: Copyright The Zephyr Project Contributors
 * SPDX-License-Identifier: Apache-2.0
 */

#include <zephyr/ztest.h>
#include <zephyr/device.h>
#include <zephyr/audio/codec.h>
#include <zephyr/drivers/i2c.h>
#include <zephyr/drivers/i2c_emul.h>

#include "tlv320aic3104_emul.h"

#define CODEC DEVICE_DT_GET(DT_NODELABEL(tlv320aic3104_init_properties))

#define MICBIAS_CTRL 0x19U

#define CODEC_FILTER 0x0CU

ZTEST(tlv320_init_properties, test_micbias_and_hpf_applied_on_rx_start)
{
	tlv320aic3104_emul_reset();

	zassert_ok(audio_codec_start(CODEC, AUDIO_DAI_DIR_RX));

	zassert_equal(tlv320aic3104_emul_last_val(0, MICBIAS_CTRL), 0x80, "MICBIAS 2.5V");
	zassert_equal(tlv320aic3104_emul_last_val(0, CODEC_FILTER), 0xF0,
		      "HPF code 3 both channels");
}

ZTEST_SUITE(tlv320_init_properties, NULL, NULL, NULL, NULL, NULL);
```

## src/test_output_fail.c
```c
/*
 * SPDX-FileCopyrightText: Copyright The Zephyr Project Contributors
 * SPDX-License-Identifier: Apache-2.0
 */

#include <errno.h>
#include <zephyr/audio/codec.h>
#include <zephyr/device.h>
#include <zephyr/ztest.h>

#include "tlv320aic3104_emul.h"

#define CODEC DEVICE_DT_GET(DT_NODELABEL(tlv320aic3104_output_fail))

#define REG_LEFT_DAC_VOL 0x2BU

static struct audio_codec_cfg s_cfg = {
	.mclk_freq = 12288000,
	.dai_type = AUDIO_DAI_TYPE_I2S,
	.dai_cfg.i2s.frame_clk_freq = 48000,
	.dai_cfg.i2s.word_size = 16,
	.dai_route = AUDIO_ROUTE_PLAYBACK,
};

static void before_each(void *fixture)
{
	audio_property_value_t unmute = {.mute = false};

	ARG_UNUSED(fixture);

	tlv320aic3104_emul_reset();
	zassert_ok(audio_codec_set_property(CODEC, AUDIO_PROPERTY_OUTPUT_MUTE, AUDIO_CHANNEL_ALL,
					    unmute));
	zassert_ok(audio_codec_configure(CODEC, &s_cfg));
}

ZTEST_SUITE(tlv320_output_fail, NULL, NULL, before_each, NULL, NULL);

ZTEST(tlv320_output_fail, test_start_write_failure_propagates)
{
	tlv320aic3104_emul_fail_write_at(0, REG_LEFT_DAC_VOL);

	zassert_equal(audio_codec_start(CODEC, AUDIO_DAI_DIR_TX), -EIO,
		      "playback start must report the failed write");
}

ZTEST(tlv320_output_fail, test_failed_start_leaves_output_stopped)
{
	audio_property_value_t vol = {.vol = -25};

	tlv320aic3104_emul_fail_write_at(0, REG_LEFT_DAC_VOL);
	zassert_equal(audio_codec_start(CODEC, AUDIO_DAI_DIR_TX), -EIO);

	tlv320aic3104_emul_reset();
	zassert_ok(audio_codec_set_property(CODEC, AUDIO_PROPERTY_OUTPUT_VOLUME, AUDIO_CHANNEL_ALL,
					    vol));
	zassert_equal(tlv320aic3104_emul_last_val(0, REG_LEFT_DAC_VOL), 0x00U,
		      "volume must not reach an output that failed to start");
}

ZTEST(tlv320_output_fail, test_stop_write_failure_propagates)
{
	zassert_ok(audio_codec_start(CODEC, AUDIO_DAI_DIR_TX));
	tlv320aic3104_emul_fail_write_at(0, REG_LEFT_DAC_VOL);

	zassert_equal(audio_codec_stop(CODEC, AUDIO_DAI_DIR_TX), -EIO,
		      "playback stop must report the failed write");
}

ZTEST(tlv320_output_fail, test_mute_write_failure_propagates)
{
	audio_property_value_t mute = {.mute = true};

	zassert_ok(audio_codec_start(CODEC, AUDIO_DAI_DIR_TX));
	tlv320aic3104_emul_fail_write_at(0, REG_LEFT_DAC_VOL);

	zassert_equal(audio_codec_set_property(CODEC, AUDIO_PROPERTY_OUTPUT_MUTE, AUDIO_CHANNEL_ALL,
					       mute),
		      -EIO, "mute must report the failed write");
}

ZTEST(tlv320_output_fail, test_volume_write_failure_propagates)
{
	audio_property_value_t vol = {.vol = -25};

	zassert_ok(audio_codec_start(CODEC, AUDIO_DAI_DIR_TX));
	tlv320aic3104_emul_fail_write_at(0, REG_LEFT_DAC_VOL);

	zassert_equal(audio_codec_set_property(CODEC, AUDIO_PROPERTY_OUTPUT_VOLUME,
					       AUDIO_CHANNEL_ALL, vol),
		      -EIO, "volume must report the failed write");
}
```

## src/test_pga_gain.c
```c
/*
 * SPDX-FileCopyrightText: Copyright The Zephyr Project Contributors
 * SPDX-License-Identifier: Apache-2.0
 */

#include <zephyr/ztest.h>
#include <zephyr/device.h>
#include <zephyr/audio/codec.h>
#include <zephyr/drivers/i2c.h>
#include <zephyr/drivers/i2c_emul.h>

#include "tlv320aic3104_emul.h"

#define CODEC DEVICE_DT_GET(DT_NODELABEL(tlv320aic3104_pga_gain))

#define LEFT_ADC_PGA_GAIN  0x0FU
#define RIGHT_ADC_PGA_GAIN 0x10U

static int set_input_volume(audio_channel_t channel, int vol)
{
	audio_property_value_t val = {.vol = vol};

	return audio_codec_set_property(CODEC, AUDIO_PROPERTY_INPUT_VOLUME, channel, val);
}

ZTEST(tlv320_pga_gain, test_clamps_at_low_end)
{
	tlv320aic3104_emul_reset();
	zassert_ok(set_input_volume(AUDIO_CHANNEL_ALL, -50));
	zassert_equal(tlv320aic3104_emul_last_val(0, LEFT_ADC_PGA_GAIN), 0x00, "clamped to 0 dB");
	zassert_equal(tlv320aic3104_emul_last_val(0, RIGHT_ADC_PGA_GAIN), 0x00, "clamped to 0 dB");
}

ZTEST(tlv320_pga_gain, test_clamps_at_high_end)
{
	tlv320aic3104_emul_reset();

	zassert_ok(set_input_volume(AUDIO_CHANNEL_ALL, 900));
	zassert_equal(tlv320aic3104_emul_last_val(0, LEFT_ADC_PGA_GAIN), 0x77,
		      "clamped to 59.5 dB");
	zassert_equal(tlv320aic3104_emul_last_val(0, RIGHT_ADC_PGA_GAIN), 0x77,
		      "clamped to 59.5 dB");
}

ZTEST(tlv320_pga_gain, test_mid_value_per_channel)
{
	tlv320aic3104_emul_reset();

	zassert_ok(set_input_volume(AUDIO_CHANNEL_FRONT_LEFT, 300));
	zassert_equal(tlv320aic3104_emul_last_val(0, LEFT_ADC_PGA_GAIN), 0x3C, "left 30 dB");
	zassert_equal(tlv320aic3104_emul_last_val(0, RIGHT_ADC_PGA_GAIN), 0x00, "right untouched");

	tlv320aic3104_emul_reset();
	zassert_ok(set_input_volume(AUDIO_CHANNEL_FRONT_RIGHT, 300));
	zassert_equal(tlv320aic3104_emul_last_val(0, RIGHT_ADC_PGA_GAIN), 0x3C, "right 30 dB");
	zassert_equal(tlv320aic3104_emul_last_val(0, LEFT_ADC_PGA_GAIN), 0x00, "left untouched");
}

ZTEST(tlv320_pga_gain, test_unsupported_channel_writes_nothing)
{
	tlv320aic3104_emul_reset();
	zassert_equal(set_input_volume(AUDIO_CHANNEL_LFE, 300), -ENOTSUP);
	zassert_equal(tlv320aic3104_emul_last_val(0, LEFT_ADC_PGA_GAIN), 0x00,
		      "no write on rejection");
	zassert_equal(tlv320aic3104_emul_last_val(0, RIGHT_ADC_PGA_GAIN), 0x00,
		      "no write on rejection");
}

ZTEST_SUITE(tlv320_pga_gain, NULL, NULL, NULL, NULL, NULL);
```

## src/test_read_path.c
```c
/*
 * SPDX-FileCopyrightText: Copyright The Zephyr Project Contributors
 * SPDX-License-Identifier: Apache-2.0
 */

#include <zephyr/audio/codec.h>
#include <zephyr/device.h>
#include <zephyr/drivers/i2c.h>
#include <zephyr/drivers/i2c_emul.h>
#include <zephyr/ztest.h>

#include "tlv320aic3104_emul.h"

#define CODEC DEVICE_DT_GET(DT_NODELABEL(tlv320aic3104_read_path))

#define CHIP_DB_MIN (-117)
#define CHIP_DB_MAX 0

static void before_each(void *f)
{
	ARG_UNUSED(f);
	tlv320aic3104_emul_reset();

	struct audio_codec_cfg cfg = {
		.mclk_freq = 12288000,
		.dai_type = AUDIO_DAI_TYPE_I2S,
		.dai_cfg.i2s.frame_clk_freq = 48000,
		.dai_cfg.i2s.word_size = 16,
		.dai_route = AUDIO_ROUTE_PLAYBACK,
	};
	zassert_ok(audio_codec_configure(CODEC, &cfg));
}

ZTEST(tlv320_read_path, test_set_property_unsupported_channel)
{
	audio_property_value_t val = {.vol = 0};

	zassert_equal(audio_codec_set_property(CODEC, AUDIO_PROPERTY_OUTPUT_VOLUME,
					       (audio_channel_t)0, val),
		      -EINVAL, "non-ALL channel must return -EINVAL");
}

ZTEST(tlv320_read_path, test_set_property_unknown_property)
{
	audio_property_value_t val = {.vol = 0};

	zassert_equal(
		audio_codec_set_property(CODEC, (audio_property_t)0xFF, AUDIO_CHANNEL_ALL, val),
		-EINVAL, "unknown property must return -EINVAL");
}

ZTEST(tlv320_read_path, test_set_output_volume_out_of_range)
{
	audio_property_value_t val_above = {.vol = CHIP_DB_MAX + 1};
	audio_property_value_t val_below = {.vol = CHIP_DB_MIN - 1};

	zassert_equal(audio_codec_set_property(CODEC, AUDIO_PROPERTY_OUTPUT_VOLUME,
					       AUDIO_CHANNEL_ALL, val_above),
		      -EINVAL, "vol above max must return -EINVAL");
	zassert_equal(audio_codec_set_property(CODEC, AUDIO_PROPERTY_OUTPUT_VOLUME,
					       AUDIO_CHANNEL_ALL, val_below),
		      -EINVAL, "vol below min must return -EINVAL");
}

ZTEST_SUITE(tlv320_read_path, NULL, NULL, before_each, NULL, NULL);
```
